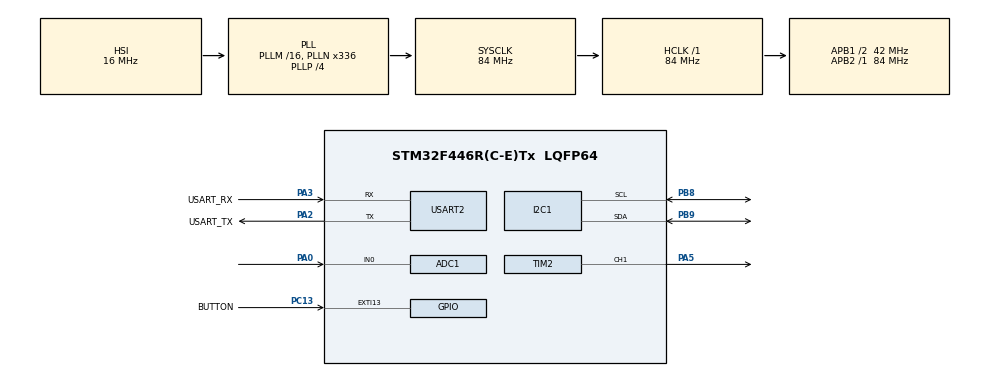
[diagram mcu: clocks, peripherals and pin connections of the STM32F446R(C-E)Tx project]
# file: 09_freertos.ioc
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ADC1.Channel-0\#ChannelRegularConversion=ADC_CHANNEL_0
ADC1.NbrOfConversionFlag=1
ADC1.Rank-0\#ChannelRegularConversion=1
ADC1.SamplingTime-0\#ChannelRegularConversion=ADC_SAMPLETIME_84CYCLES
ADC1.master=1
FREERTOS.Tasks01=KnobTask,24,256,StartKnobTask,Default,NULL,Dynamic,NULL,NULL;DisplayTask,24,512,StartDisplayTask,Default,NULL,Dynamic,NULL,NULL;LoggerTask,8,512,StartLoggerTask,Default,NULL,Dynamic,NULL,NULL
FREERTOS.configUSE_NEWLIB_REENTRANT=1
I2C1.I2C_Mode=I2C_Fast
Mcu.Family=STM32F4
Mcu.Name=STM32F446R(C-E)Tx
Mcu.Package=LQFP64
NUCLEO-F446RE.BUTTON=0
NVIC.EXTI15_10_IRQn=true\:5\:0\:false\:false\:true\:true\:true\:true\:true
NVIC.PriorityGroup=NVIC_PRIORITYGROUP_4
NVIC.TIM6_DAC_IRQn=true\:5\:0\:false\:false\:true\:true\:true\:true\:true
NVIC.TIM7_IRQn=true\:15\:0\:false\:false\:true\:false\:false\:true\:true
NVIC.TimeBase=TIM7_IRQn
NVIC.TimeBaseIP=TIM7
PA0-WKUP.Signal=ADCx_IN0
PA13.GPIO_Label=TMS
PA13.Mode=Serial_Wire
PA13.Signal=SYS_JTMS-SWDIO
PA14.GPIO_Label=TCK
PA14.Mode=Serial_Wire
PA14.Signal=SYS_JTCK-SWCLK
PA2.GPIO_Label=USART_TX
PA2.GPIO_Speed=GPIO_SPEED_FREQ_VERY_HIGH
PA2.Mode=Asynchronous
PA2.Signal=USART2_TX
PA3.GPIO_Label=USART_RX
PA3.Mode=Asynchronous
PA3.Signal=USART2_RX
PA5.Signal=S_TIM2_CH1_ETR
PB3.GPIO_Label=SWO
PB3.Signal=SYS_JTDO-SWO
PB8.Mode=I2C
PB8.Signal=I2C1_SCL
PB9.Mode=I2C
PB9.Signal=I2C1_SDA
PC13.GPIO_Label=BUTTON
PC13.Signal=GPXTI13
PC14-OSC32_IN.Signal=RCC_OSC32_IN
PC15-OSC32_OUT.Signal=RCC_OSC32_OUT
PH0-OSC_IN.Signal=RCC_OSC_IN
PH1-OSC_OUT.Signal=RCC_OSC_OUT
ProjectManager.HeapSize=0x200
ProjectManager.StackSize=0x400
ProjectManager.TargetToolchain=STM32CubeIDE
RCC.AHBFreq_Value=84000000
RCC.APB1CLKDivider=RCC_HCLK_DIV2
RCC.APB1Freq_Value=42000000
RCC.APB1TimFreq_Value=84000000
RCC.APB2Freq_Value=84000000
RCC.APB2TimFreq_Value=84000000
RCC.CortexFreq_Value=84000000
RCC.FLatency-AdvancedSettings=FLASH_LATENCY_2
RCC.HCLKFreq_Value=84000000
RCC.HSE_VALUE=8000000
RCC.HSI_VALUE=16000000
RCC.LSE_VALUE=32768
RCC.PLLN=336
RCC.PLLP=RCC_PLLP_DIV4
RCC.SYSCLKFreq_VALUE=84000000
RCC.SYSCLKSource=RCC_SYSCLKSOURCE_PLLCLK
RCC.USBFreq_Value=168000000
RCC.VCOOutputFreq_Value=336000000
SH.ADCx_IN0.0=ADC1_IN0,IN0
SH.S_TIM2_CH1_ETR.0=TIM2_CH1,PWM Generation1 CH1
TIM2.AutoReloadPreload=TIM_AUTORELOAD_PRELOAD_ENABLE
TIM2.Channel-PWM\ Generation1\ CH1=TIM_CHANNEL_1
TIM2.Period=999
TIM2.Prescaler=83
TIM6.AutoReloadPreload=TIM_AUTORELOAD_PRELOAD_ENABLE
TIM6.Period=4999
TIM6.Prescaler=8399
USART2.VirtualMode=VM_ASYNC
VP_FREERTOS_VS_CMSIS_V2.Mode=CMSIS_V2
VP_NUCLEO-F446RE_VS_BSP_COMMON.Mode=COMMON
VP_SYS_VS_tim7.Mode=TIM7
VP_TIM2_VS_ClockSourceINT.Mode=Internal
VP_TIM6_VS_ClockSourceINT.Mode=Enable_Timer
board=NUCLEO-F446RE

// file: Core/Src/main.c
/* USER CODE BEGIN Header */
/**
  ******************************************************************************
  * @file           : main.c
  * @brief          : Main program body
  ******************************************************************************
  * @attention
  *
  * Copyright (c) 2026 STMicroelectronics.
  * All rights reserved.
  *
  * This software is licensed under terms that can be found in the LICENSE file
  * in the root directory of this software component.
  * If no LICENSE file comes with this software, it is provided AS-IS.
  *
  ******************************************************************************
  */
/* USER CODE END Header */
#include "main.h"
#include "cmsis_os.h"

/* USER CODE BEGIN Includes */
#include <stdio.h>
#include <string.h>
/* USER CODE END Includes */

ADC_HandleTypeDef hadc1;

I2C_HandleTypeDef hi2c1;

TIM_HandleTypeDef htim2;
TIM_HandleTypeDef htim6;

UART_HandleTypeDef huart2;

/* Definitions for KnobTask */
osThreadId_t KnobTaskHandle;
const osThreadAttr_t KnobTask_attributes = {
  .name = "KnobTask",
  .stack_size = 256 * 4,
  .priority = (osPriority_t) osPriorityNormal,
};
/* Definitions for DisplayTask */
osThreadId_t DisplayTaskHandle;
const osThreadAttr_t DisplayTask_attributes = {
  .name = "DisplayTask",
  .stack_size = 512 * 4,
  .priority = (osPriority_t) osPriorityNormal,
};
/* Definitions for LoggerTask */
osThreadId_t LoggerTaskHandle;
const osThreadAttr_t LoggerTask_attributes = {
  .name = "LoggerTask",
  .stack_size = 512 * 4,
  .priority = (osPriority_t) osPriorityLow,
};
/* USER CODE BEGIN PV */
volatile uint32_t knobValue = 0;   // written by KnobTask, read by the others
/* USER CODE END PV */

void SystemClock_Config(void);
static void MX_GPIO_Init(void);
static void MX_USART2_UART_Init(void);
static void MX_TIM6_Init(void);
static void MX_TIM2_Init(void);
static void MX_ADC1_Init(void);
static void MX_I2C1_Init(void);
void StartKnobTask(void *argument);
void StartDisplayTask(void *argument);
void StartLoggerTask(void *argument);

/* USER CODE BEGIN 0 */
/* USER CODE BEGIN 0 */
int __io_putchar(int ch)
{
    HAL_UART_Transmit(&huart2, (uint8_t *)&ch, 1, HAL_MAX_DELAY);
    return ch;
}

uint32_t readKnobAverage(void)
{
    uint32_t sum = 0;
    for (int i = 0; i < 8; i++)
    {
        HAL_ADC_Start(&hadc1);
        HAL_ADC_PollForConversion(&hadc1, 10);
        sum += HAL_ADC_GetValue(&hadc1);
        HAL_ADC_Stop(&hadc1);
    }
    return sum / 8;
}

/* ---------- Mini OLED driver: 1.3" SH1106, 128x64, I2C (address 0x3C) ---------- */
/* Font: 6x8 glyphs adapted from stm32-ssd1306 by Aleksander Alekseev (MIT licence) */
#define OLED_ADDR     (0x3C << 1)   // 7-bit address shifted for HAL
#define OLED_XOFFSET  2             // SH1106 picture starts 2 columns in (use 0 for SSD1306)

static uint8_t oledBuf[128 * 8];    // frame buffer: 128 columns x 8 pages (8 rows each)

static const uint8_t font6x8[95][6] = {
    {0x00, 0x00, 0x00, 0x00, 0x00, 0x00},  // space
    {0x00, 0x00, 0x5F, 0x00, 0x00, 0x00},  // !
    {0x00, 0x07, 0x00, 0x07, 0x00, 0x00},  // "
    {0x14, 0x7F, 0x14, 0x7F, 0x14, 0x00},  // #
    {0x24, 0x2A, 0x7F, 0x2A, 0x12, 0x00},  // $
    {0x23, 0x13, 0x08, 0x64, 0x62, 0x00},  // %
    {0x36, 0x49, 0x56, 0x20, 0x50, 0x00},  // &
    {0x00, 0x08, 0x07, 0x03, 0x00, 0x00},  // '
    {0x00, 0x1C, 0x22, 0x41, 0x00, 0x00},  // (
    {0x00, 0x41, 0x22, 0x1C, 0x00, 0x00},  // )
    {0x2A, 0x1C, 0x7F, 0x1C, 0x2A, 0x00},  // *
    {0x08, 0x08, 0x3E, 0x08, 0x08, 0x00},  // +
    {0x00, 0x00, 0x70, 0x30, 0x00, 0x00},  // ,
    {0x08, 0x08, 0x08, 0x08, 0x08, 0x00},  // -
    {0x00, 0x00, 0x60, 0x60, 0x00, 0x00},  // .
    {0x20, 0x10, 0x08, 0x04, 0x02, 0x00},  // /
    {0x3E, 0x51, 0x49, 0x45, 0x3E, 0x00},  // 0
    {0x00, 0x42, 0x7F, 0x40, 0x00, 0x00},  // 1
    {0x72, 0x49, 0x49, 0x49, 0x46, 0x00},  // 2
    {0x21, 0x41, 0x49, 0x4D, 0x33, 0x00},  // 3
    {0x18, 0x14, 0x12, 0x7F, 0x10, 0x00},  // 4
    {0x27, 0x45, 0x45, 0x45, 0x39, 0x00},  // 5
    {0x3C, 0x4A, 0x49, 0x49, 0x31, 0x00},  // 6
    {0x41, 0x21, 0x11, 0x09, 0x07, 0x00},  // 7
    {0x36, 0x49, 0x49, 0x49, 0x36, 0x00},  // 8
    {0x46, 0x49, 0x49, 0x29, 0x1E, 0x00},  // 9
    {0x00, 0x00, 0x14, 0x00, 0x00, 0x00},  // :
    {0x00, 0x40, 0x34, 0x00, 0x00, 0x00},  // ;
    {0x00, 0x08, 0x14, 0x22, 0x41, 0x00},  // <
    {0x14, 0x14, 0x14, 0x14, 0x14, 0x00},  // =
    {0x00, 0x41, 0x22, 0x14, 0x08, 0x00},  // >
    {0x02, 0x01, 0x59, 0x09, 0x06, 0x00},  // ?
    {0x3E, 0x41, 0x5D, 0x59, 0x4E, 0x00},  // @
    {0x7C, 0x12, 0x11, 0x12, 0x7C, 0x00},  // A
    {0x7F, 0x49, 0x49, 0x49, 0x36, 0x00},  // B
    {0x3E, 0x41, 0x41, 0x41, 0x22, 0x00},  // C
    {0x7F, 0x41, 0x41, 0x41, 0x3E, 0x00},  // D
    {0x7F, 0x49, 0x49, 0x49, 0x41, 0x00},  // E
    {0x7F, 0x09, 0x09, 0x09, 0x01, 0x00},  // F
    {0x3E, 0x41, 0x41, 0x51, 0x73, 0x00},  // G
    {0x7F, 0x08, 0x08, 0x08, 0x7F, 0x00},  // H
    {0x00, 0x41, 0x7F, 0x41, 0x00, 0x00},  // I
    {0x20, 0x40, 0x41, 0x3F, 0x01, 0x00},  // J
    {0x7F, 0x08, 0x14, 0x22, 0x41, 0x00},  // K
    {0x7F, 0x40, 0x40, 0x40, 0x40, 0x00},  // L
    {0x7F, 0x02, 0x1C, 0x02, 0x7F, 0x00},  // M
    {0x7F, 0x04, 0x08, 0x10, 0x7F, 0x00},  // N
    {0x3E, 0x41, 0x41, 0x41, 0x3E, 0x00},  // O
    {0x7F, 0x09, 0x09, 0x09, 0x06, 0x00},  // P
    {0x3E, 0x41, 0x51, 0x21, 0x5E, 0x00},  // Q
    {0x7F, 0x09, 0x19, 0x29, 0x46, 0x00},  // R
    {0x26, 0x49, 0x49, 0x49, 0x32, 0x00},  // S
    {0x03, 0x01, 0x7F, 0x01, 0x03, 0x00},  // T
    {0x3F, 0x40, 0x40, 0x40, 0x3F, 0x00},  // U
    {0x1F, 0x20, 0x40, 0x20, 0x1F, 0x00},  // V
    {0x3F, 0x40, 0x38, 0x40, 0x3F, 0x00},  // W
    {0x63, 0x14, 0x08, 0x14, 0x63, 0x00},  // X
    {0x03, 0x04, 0x78, 0x04, 0x03, 0x00},  // Y
    {0x61, 0x59, 0x49, 0x4D, 0x43, 0x00},  // Z
    {0x00, 0x7F, 0x41, 0x41, 0x41, 0x00},  // [
    {0x02, 0x04, 0x08, 0x10, 0x20, 0x00},  // backslash
    {0x00, 0x41, 0x41, 0x41, 0x7F, 0x00},  // ]
    {0x04, 0x02, 0x01, 0x02, 0x04, 0x00},  // ^
    {0x40, 0x40, 0x40, 0x40, 0x40, 0x00},  // _
    {0x00, 0x03, 0x07, 0x08, 0x00, 0x00},  // `
    {0x20, 0x54, 0x54, 0x78, 0x40, 0x00},  // a
    {0x7F, 0x28, 0x44, 0x44, 0x38, 0x00},  // b
    {0x38, 0x44, 0x44, 0x44, 0x28, 0x00},  // c
    {0x38, 0x44, 0x44, 0x28, 0x7F, 0x00},  // d
    {0x38, 0x54, 0x54, 0x54, 0x18, 0x00},  // e
    {0x00, 0x08, 0x7E, 0x09, 0x02, 0x00},  // f
    {0x18, 0x24, 0x24, 0x1C, 0x78, 0x00},  // g
    {0x7F, 0x08, 0x04, 0x04, 0x78, 0x00},  // h
    {0x00, 0x44, 0x7D, 0x40, 0x00, 0x00},  // i
    {0x20, 0x40, 0x40, 0x3D, 0x00, 0x00},  // j
    {0x7F, 0x10, 0x28, 0x44, 0x00, 0x00},  // k
    {0x00, 0x41, 0x7F, 0x40, 0x00, 0x00},  // l
    {0x7C, 0x04, 0x78, 0x04, 0x78, 0x00},  // m
    {0x7C, 0x08, 0x04, 0x04, 0x78, 0x00},  // n
    {0x38, 0x44, 0x44, 0x44, 0x38, 0x00},  // o
    {0x7C, 0x18, 0x24, 0x24, 0x18, 0x00},  // p
    {0x18, 0x24, 0x24, 0x18, 0x7C, 0x00},  // q
    {0x7C, 0x08, 0x04, 0x04, 0x08, 0x00},  // r
    {0x48, 0x54, 0x54, 0x54, 0x24, 0x00},  // s
    {0x04, 0x04, 0x3F, 0x44, 0x24, 0x00},  // t
    {0x3C, 0x40, 0x40, 0x20, 0x7C, 0x00},  // u
    {0x1C, 0x20, 0x40, 0x20, 0x1C, 0x00},  // v
    {0x3C, 0x40, 0x30, 0x40, 0x3C, 0x00},  // w
    {0x44, 0x28, 0x10, 0x28, 0x44, 0x00},  // x
    {0x4C, 0x10, 0x10, 0x10, 0x7C, 0x00},  // y
    {0x44, 0x64, 0x54, 0x4C, 0x44, 0x00},  // z
    {0x00, 0x08, 0x36, 0x41, 0x00, 0x00},  // {
    {0x00, 0x00, 0x77, 0x00, 0x00, 0x00},  // |
    {0x00, 0x41, 0x36, 0x08, 0x00, 0x00},  // }
    {0x02, 0x01, 0x02, 0x04, 0x02, 0x00},  // ~
};

static void oled_cmd(uint8_t c)
{
    HAL_I2C_Mem_Write(&hi2c1, OLED_ADDR, 0x00, 1, &c, 1, HAL_MAX_DELAY);
}

void oled_init(void)
{
    const uint8_t init[] = {0xAE, 0xD5, 0xF0, 0xA8, 0x3F, 0xD3, 0x00, 0x40, 0x8D, 0x14,
                            0xA1, 0xC8, 0xDA, 0x12, 0x81, 0xFF, 0xD9, 0x22, 0xDB, 0x20,
                            0xA4, 0xA6, 0xAF};
    HAL_Delay(100);
    for (uint8_t i = 0; i < sizeof(init); i++) oled_cmd(init[i]);
}

void oled_clear(void)
{
    memset(oledBuf, 0, sizeof(oledBuf));
}

void oled_pixel(uint8_t x, uint8_t y)
{
    if (x < 128 && y < 64) oledBuf[x + (y / 8) * 128] |= (1 << (y % 8));
}

void oled_char(uint8_t x, uint8_t y, char ch, uint8_t scale)
{
    if (ch < 32 || ch > 126) ch = '?';
    for (uint8_t col = 0; col < 6; col++)
        for (uint8_t row = 0; row < 8; row++)
            if (font6x8[ch - 32][col] & (1 << row))
                for (uint8_t dx = 0; dx < scale; dx++)
                    for (uint8_t dy = 0; dy < scale; dy++)
                        oled_pixel(x + col * scale + dx, y + row * scale + dy);
}

void oled_string(uint8_t x, uint8_t y, const char *s, uint8_t scale)
{
    while (*s) { oled_char(x, y, *s++, scale); x += 6 * scale; }
}

void oled_rect(uint8_t x1, uint8_t y1, uint8_t x2, uint8_t y2)
{
    for (uint8_t x = x1; x <= x2; x++) { oled_pixel(x, y1); oled_pixel(x, y2); }
    for (uint8_t y = y1; y <= y2; y++) { oled_pixel(x1, y); oled_pixel(x2, y); }
}

void oled_fill_rect(uint8_t x1, uint8_t y1, uint8_t x2, uint8_t y2)
{
    for (uint8_t x = x1; x <= x2; x++)
        for (uint8_t y = y1; y <= y2; y++) oled_pixel(x, y);
}

void oled_update(void)
{
    for (uint8_t page = 0; page < 8; page++)
    {
        oled_cmd(0xB0 + page);                        // select page (8-pixel row band)
        oled_cmd(0x00 + (OLED_XOFFSET & 0x0F));       // column address, low half
        oled_cmd(0x10 + (OLED_XOFFSET >> 4));         // column address, high half
        HAL_I2C_Mem_Write(&hi2c1, OLED_ADDR, 0x40, 1, &oledBuf[page * 128], 128, HAL_MAX_DELAY);
    }
}
/* ---------- end of OLED driver ---------- */
/* USER CODE END 0 */

int main(void)
{

  /* MCU Configuration--------------------------------------------------------*/

  /* Reset of all peripherals, Initializes the Flash interface and the Systick. */
  HAL_Init();

  /* Configure the system clock */
  SystemClock_Config();

  /* Initialize all configured peripherals */
  MX_GPIO_Init();
  MX_USART2_UART_Init();
  MX_TIM6_Init();
  MX_TIM2_Init();
  MX_ADC1_Init();
  MX_I2C1_Init();
  /* USER CODE BEGIN 2 */
  /* USER CODE BEGIN 2 */
  /* USER CODE BEGIN 2 */
  setvbuf(stdout, NULL, _IONBF, 0);
  printf("Lesson 09: FreeRTOS starting\r\n");

  HAL_TIM_PWM_Start(&htim2, TIM_CHANNEL_1);

  oled_init();
  oled_clear();
  oled_string(10, 28, "Starting RTOS", 1);
  oled_update();
  /* USER CODE END 2 */
  /* USER CODE END 2 */

  /* Init scheduler */
  osKernelInitialize();

  /* Create the thread(s) */
  /* creation of KnobTask */
  KnobTaskHandle = osThreadNew(StartKnobTask, NULL, &KnobTask_attributes);

  /* creation of DisplayTask */
  DisplayTaskHandle = osThreadNew(StartDisplayTask, NULL, &DisplayTask_attributes);

  /* creation of LoggerTask */
  LoggerTaskHandle = osThreadNew(StartLoggerTask, NULL, &LoggerTask_attributes);

  /* Start scheduler */
  osKernelStart();

  /* We should never get here as control is now taken by the scheduler */

  /* Infinite loop */
  while (1)
  {

  }
}

void SystemClock_Config(void)
{
  RCC_OscInitTypeDef RCC_OscInitStruct = {0};
  RCC_ClkInitTypeDef RCC_ClkInitStruct = {0};

  /** Configure the main internal regulator output voltage
  */
  __HAL_RCC_PWR_CLK_ENABLE();
  __HAL_PWR_VOLTAGESCALING_CONFIG(PWR_REGULATOR_VOLTAGE_SCALE3);

  /** Initializes the RCC Oscillators according to the specified parameters
  * in the RCC_OscInitTypeDef structure.
  */
  RCC_OscInitStruct.OscillatorType = RCC_OSCILLATORTYPE_HSI;
  RCC_OscInitStruct.HSIState = RCC_HSI_ON;
  RCC_OscInitStruct.HSICalibrationValue = RCC_HSICALIBRATION_DEFAULT;
  RCC_OscInitStruct.PLL.PLLState = RCC_PLL_ON;
  RCC_OscInitStruct.PLL.PLLSource = RCC_PLLSOURCE_HSI;
  RCC_OscInitStruct.PLL.PLLM = 16;
  RCC_OscInitStruct.PLL.PLLN = 336;
  RCC_OscInitStruct.PLL.PLLP = RCC_PLLP_DIV4;
  RCC_OscInitStruct.PLL.PLLQ = 2;
  RCC_OscInitStruct.PLL.PLLR = 2;
  if (HAL_RCC_OscConfig(&RCC_OscInitStruct) != HAL_OK)
  {
    Error_Handler();
  }

  /** Initializes the CPU, AHB and APB buses clocks
  */
  RCC_ClkInitStruct.ClockType = RCC_CLOCKTYPE_HCLK|RCC_CLOCKTYPE_SYSCLK
                              |RCC_CLOCKTYPE_PCLK1|RCC_CLOCKTYPE_PCLK2;
  RCC_ClkInitStruct.SYSCLKSource = RCC_SYSCLKSOURCE_PLLCLK;
  RCC_ClkInitStruct.AHBCLKDivider = RCC_SYSCLK_DIV1;
  RCC_ClkInitStruct.APB1CLKDivider = RCC_HCLK_DIV2;
  RCC_ClkInitStruct.APB2CLKDivider = RCC_HCLK_DIV1;

  if (HAL_RCC_ClockConfig(&RCC_ClkInitStruct, FLASH_LATENCY_2) != HAL_OK)
  {
    Error_Handler();
  }
}

static void MX_ADC1_Init(void)
{

  ADC_ChannelConfTypeDef sConfig = {0};

  /** Configure the global features of the ADC (Clock, Resolution, Data Alignment and number of conversion)
  */
  hadc1.Instance = ADC1;
  hadc1.Init.ClockPrescaler = ADC_CLOCK_SYNC_PCLK_DIV4;
  hadc1.Init.Resolution = ADC_RESOLUTION_12B;
  hadc1.Init.ScanConvMode = DISABLE;
  hadc1.Init.ContinuousConvMode = DISABLE;
  hadc1.Init.DiscontinuousConvMode = DISABLE;
  hadc1.Init.ExternalTrigConvEdge = ADC_EXTERNALTRIGCONVEDGE_NONE;
  hadc1.Init.ExternalTrigConv = ADC_SOFTWARE_START;
  hadc1.Init.DataAlign = ADC_DATAALIGN_RIGHT;
  hadc1.Init.NbrOfConversion = 1;
  hadc1.Init.DMAContinuousRequests = DISABLE;
  hadc1.Init.EOCSelection = ADC_EOC_SINGLE_CONV;
  if (HAL_ADC_Init(&hadc1) != HAL_OK)
  {
    Error_Handler();
  }

  /** Configure for the selected ADC regular channel its corresponding rank in the sequencer and its sample time.
  */
  sConfig.Channel = ADC_CHANNEL_0;
  sConfig.Rank = 1;
  sConfig.SamplingTime = ADC_SAMPLETIME_84CYCLES;
  if (HAL_ADC_ConfigChannel(&hadc1, &sConfig) != HAL_OK)
  {
    Error_Handler();
  }

}

static void MX_I2C1_Init(void)
{

  hi2c1.Instance = I2C1;
  hi2c1.Init.ClockSpeed = 400000;
  hi2c1.Init.DutyCycle = I2C_DUTYCYCLE_2;
  hi2c1.Init.OwnAddress1 = 0;
  hi2c1.Init.AddressingMode = I2C_ADDRESSINGMODE_7BIT;
  hi2c1.Init.DualAddressMode = I2C_DUALADDRESS_DISABLE;
  hi2c1.Init.OwnAddress2 = 0;
  hi2c1.Init.GeneralCallMode = I2C_GENERALCALL_DISABLE;
  hi2c1.Init.NoStretchMode = I2C_NOSTRETCH_DISABLE;
  if (HAL_I2C_Init(&hi2c1) != HAL_OK)
  {
    Error_Handler();
  }

}

static void MX_TIM2_Init(void)
{

  TIM_ClockConfigTypeDef sClockSourceConfig = {0};
  TIM_MasterConfigTypeDef sMasterConfig = {0};
  TIM_OC_InitTypeDef sConfigOC = {0};

  htim2.Instance = TIM2;
  htim2.Init.Prescaler = 83;
  htim2.Init.CounterMode = TIM_COUNTERMODE_UP;
  htim2.Init.Period = 999;
  htim2.Init.ClockDivision = TIM_CLOCKDIVISION_DIV1;
  htim2.Init.AutoReloadPreload = TIM_AUTORELOAD_PRELOAD_ENABLE;
  if (HAL_TIM_Base_Init(&htim2) != HAL_OK)
  {
    Error_Handler();
  }
  sClockSourceConfig.ClockSource = TIM_CLOCKSOURCE_INTERNAL;
  if (HAL_TIM_ConfigClockSource(&htim2, &sClockSourceConfig) != HAL_OK)
  {
    Error_Handler();
  }
  if (HAL_TIM_PWM_Init(&htim2) != HAL_OK)
  {
    Error_Handler();
  }
  sMasterConfig.MasterOutputTrigger = TIM_TRGO_RESET;
  sMasterConfig.MasterSlaveMode = TIM_MASTERSLAVEMODE_DISABLE;
  if (HAL_TIMEx_MasterConfigSynchronization(&htim2, &sMasterConfig) != HAL_OK)
  {
    Error_Handler();
  }
  sConfigOC.OCMode = TIM_OCMODE_PWM1;
  sConfigOC.Pulse = 0;
  sConfigOC.OCPolarity = TIM_OCPOLARITY_HIGH;
  sConfigOC.OCFastMode = TIM_OCFAST_DISABLE;
  if (HAL_TIM_PWM_ConfigChannel(&htim2, &sConfigOC, TIM_CHANNEL_1) != HAL_OK)
  {
    Error_Handler();
  }
  HAL_TIM_MspPostInit(&htim2);

}

static void MX_TIM6_Init(void)
{

  TIM_MasterConfigTypeDef sMasterConfig = {0};

  htim6.Instance = TIM6;
  htim6.Init.Prescaler = 8399;
  htim6.Init.CounterMode = TIM_COUNTERMODE_UP;
  htim6.Init.Period = 4999;
  htim6.Init.AutoReloadPreload = TIM_AUTORELOAD_PRELOAD_ENABLE;
  if (HAL_TIM_Base_Init(&htim6) != HAL_OK)
  {
    Error_Handler();
  }
  sMasterConfig.MasterOutputTrigger = TIM_TRGO_RESET;
  sMasterConfig.MasterSlaveMode = TIM_MASTERSLAVEMODE_DISABLE;
  if (HAL_TIMEx_MasterConfigSynchronization(&htim6, &sMasterConfig) != HAL_OK)
  {
    Error_Handler();
  }

}

static void MX_USART2_UART_Init(void)
{

  huart2.Instance = USART2;
  huart2.Init.BaudRate = 115200;
  huart2.Init.WordLength = UART_WORDLENGTH_8B;
  huart2.Init.StopBits = UART_STOPBITS_1;
  huart2.Init.Parity = UART_PARITY_NONE;
  huart2.Init.Mode = UART_MODE_TX_RX;
  huart2.Init.HwFlowCtl = UART_HWCONTROL_NONE;
  huart2.Init.OverSampling = UART_OVERSAMPLING_16;
  if (HAL_UART_Init(&huart2) != HAL_OK)
  {
    Error_Handler();
  }

}

static void MX_GPIO_Init(void)
{
  GPIO_InitTypeDef GPIO_InitStruct = {0};

  /* GPIO Ports Clock Enable */
  __HAL_RCC_GPIOC_CLK_ENABLE();
  __HAL_RCC_GPIOH_CLK_ENABLE();
  __HAL_RCC_GPIOA_CLK_ENABLE();
  __HAL_RCC_GPIOB_CLK_ENABLE();

  /*Configure GPIO pin : BUTTON_Pin */
  GPIO_InitStruct.Pin = BUTTON_Pin;
  GPIO_InitStruct.Mode = GPIO_MODE_IT_RISING;
  GPIO_InitStruct.Pull = GPIO_NOPULL;
  HAL_GPIO_Init(BUTTON_GPIO_Port, &GPIO_InitStruct);

  /* EXTI interrupt init*/
  HAL_NVIC_SetPriority(EXTI15_10_IRQn, 5, 0);
  HAL_NVIC_EnableIRQ(EXTI15_10_IRQn);

}

void StartKnobTask(void *argument)
{
  /* USER CODE BEGIN 5 */
  /* Infinite loop */
  for(;;)
  {
	  knobValue = readKnobAverage();
	     __HAL_TIM_SET_COMPARE(&htim2, TIM_CHANNEL_1, knobValue * 999 / 4095);
    osDelay(1);
  }
  /* USER CODE END 5 */
}

void StartDisplayTask(void *argument)
{
  /* USER CODE BEGIN StartDisplayTask */
	  char line[20];
	  for(;;)
	  {
	    uint32_t v = knobValue;

	    oled_clear();
	    oled_string(0, 0, "FreeRTOS: 3 tasks", 1);   // small text (scale 1)

	    sprintf(line, "%4lu", v);
	    oled_string(0, 20, line, 2);                 // big number (scale 2)

	    oled_rect(0, 52, 127, 63);                   // bar outline
	    oled_fill_rect(0, 52, v * 127 / 4095, 63);   // bar fill
	    oled_update();                               // send to the screen

	    osDelay(200);
	  }
  /* USER CODE END StartDisplayTask */
}

void StartLoggerTask(void *argument)
{
  /* USER CODE BEGIN StartLoggerTask */
  for(;;)
  {
    printf("[%lu s] knob = %lu\r\n", HAL_GetTick() / 1000, knobValue);
    osDelay(1000);
  }
  /* USER CODE END StartLoggerTask */
}

void HAL_TIM_PeriodElapsedCallback(TIM_HandleTypeDef *htim)
{
  if (htim->Instance == TIM7)
  {
    HAL_IncTick();
  }
}

void Error_Handler(void)
{
  __disable_irq();
  while (1)
  {
  }
}
